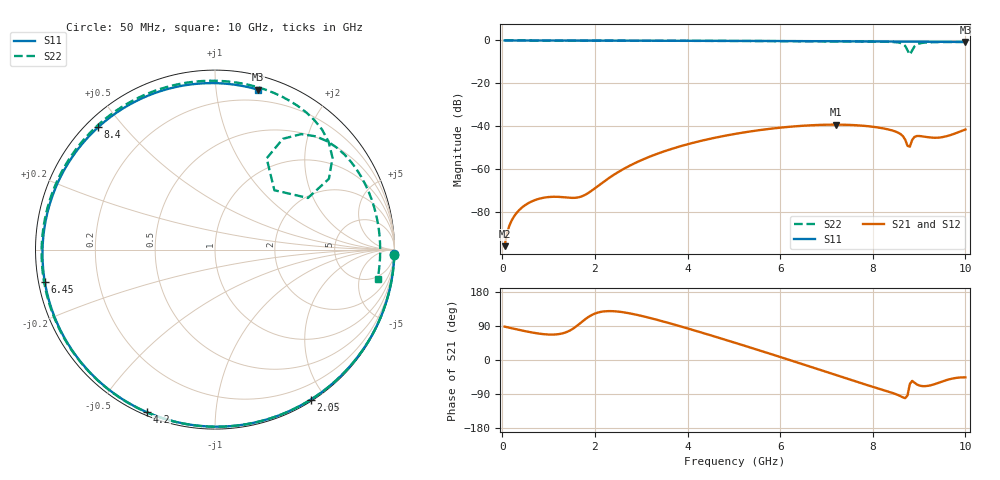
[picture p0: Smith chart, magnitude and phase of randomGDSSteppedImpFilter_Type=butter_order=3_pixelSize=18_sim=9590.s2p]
! freq	dB(S11)	phase(S11)	dB(S12)	phase(S12)
!  dB(S21)	phase(S21)	dB(S22)	phase(S22)
!S-par simulation data
#  GHz  S  DB  R 50
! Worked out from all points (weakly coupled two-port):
!   200 points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, 50 MHz to 10 GHz, reference 50 ohm
!   highest |S21| = -39.18 dB at 7.2 GHz (marker M1); lowest = -95.8 dB at 50 MHz (marker M2)
!   lowest |S11| = -0.7 dB at 10 GHz (marker M3), VSWR 24.95, Z = 5.41 + j65 ohm
!   |S11| at or under -10 dB: nowhere
!   |S22| runs from -6.6 to 0.0 dB; largest |S21 - S12| = 0
!   S11 on the Smith chart (normalised r, x): 50 MHz: 1, -78; 2.05 GHz: 0.02, -1.83; 4.2 GHz: 0.01, -0.67; 6.45 GHz: 0.02, -0.09; 8.4 GHz: 0.03, +0.43; 10 GHz: 0.11, +1.30
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0.05  -0.00 -1.5  -95.76 88.1  -95.76 88.1  -0.00 -1.6
0.3  -0.01 -8.6  -80.54 81.2  -80.54 81.2  -0.01 -9.7
0.85  -0.03 -24.3  -73.40 68.7  -73.40 68.7  -0.03 -27.3
1.75  -0.06 -49.2  -72.27 103.8  -72.27 103.8  -0.07 -55.5
2.05  -0.07 -57.4  -68.01 124.6  -68.01 124.6  -0.08 -64.7
3.4  -0.12 -92.7  -52.34 104.2  -52.34 104.2  -0.14 -105.4
4.2  -0.16 -112.7  -47.22 76.2  -47.22 76.2  -0.18 -129.5
5.05  -0.20 -133.8  -43.41 44.6  -43.41 44.6  -0.24 -155.9
5.8  -0.25 -152.5  -41.08 15.8  -41.08 15.8  -0.30 178.8
6.45  -0.31 -169.3  -39.76 -9.7  -39.76 -9.7  -0.37 154.7
6.7  -0.33 -176.0  -39.44 -19.6  -39.44 -19.6  -0.40 144.7
7.2  -0.38 170.3  -39.18 -39.5  -39.18 -39.5  -0.45 123.1
7.85  -0.45 151.2  -39.82 -65.1  -39.82 -65.1  -0.53 91.6
8.35  -0.51 135.4  -41.50 -83.9  -41.50 -83.9  -0.65 63.2
8.4  -0.51 133.7  -41.78 -85.8  -41.78 -85.8  -0.69 59.9
8.65  -0.54 125.3  -44.53 -98.5  -44.53 -98.5  -1.61 38.0
8.75  -0.55 121.9  -49.05 -93.5  -49.05 -93.5  -4.55 29.0
8.8  -0.56 120.1  -49.46 -63.3  -49.46 -63.3  -6.60 45.0
8.9  -0.57 116.6  -44.91 -59.9  -44.91 -59.9  -2.81 58.5
9  -0.58 113.1  -44.46 -67.1  -44.46 -67.1  -1.45 48.2
9.4  -0.63 98.3  -45.27 -61.1  -45.27 -61.1  -0.77 20.6
10  -0.70 74.9  -41.45 -45.7  -41.45 -45.7  -0.72 -10.2
